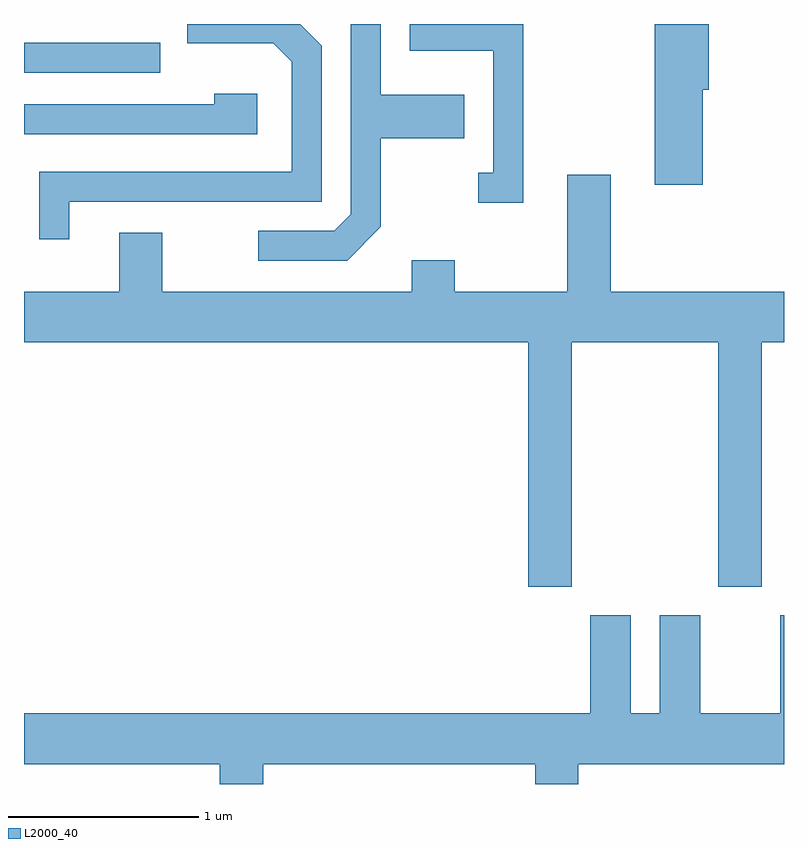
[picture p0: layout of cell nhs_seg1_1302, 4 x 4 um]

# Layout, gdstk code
import gdstk
lib = gdstk.Library(unit=1e-6, precision=1e-09)
def R(c, l, rs):  # rectangles x0, y0, x1, y1
    for r in rs: c.add(gdstk.rectangle(r[:2], r[2:], *l))
def P(c, l, *ps):  # polygons
    for p in ps: c.add(gdstk.Polygon(p, *l))
L2000_40 = (2000, 40)

nhs_seg1_1302 = lib.new_cell('nhs_seg1_1302')
R(nhs_seg1_1302, L2000_40, [(225.611,885.456,226.328,885.614)])
P(nhs_seg1_1302, L2000_40, [(225.849,884.776),(227.179,884.776),(227.179,885.597),(227.064,885.712),(226.471,885.712),(226.471,885.611),(226.924,885.611),(227.021,885.514),(227.021,884.934),(225.691,884.934),(225.691,884.578),(225.849,884.578)],
  [(227.489,884.644),(227.489,885.111),(227.929,885.111),(227.929,885.339),(227.489,885.339),(227.489,885.712),(227.331,885.712),(227.331,884.712),(227.244,884.624),(226.843,884.624),(226.843,884.466),(227.312,884.466)],
  [(229.184,885.366),(229.214,885.366),(229.214,885.712),(228.931,885.712),(228.931,884.866),(229.184,884.866)],
  [(228.239,885.712),(227.641,885.712),(227.641,885.571),(228.081,885.571),(228.081,884.929),(228.003,884.929),(228.003,884.771),(228.239,884.771)],
  [(226.839,885.344),(226.611,885.344),(226.611,885.289),(225.611,885.289),(225.611,885.131),(226.839,885.131)],
  [(228.471,884.304),(227.879,884.304),(227.879,884.469),(227.651,884.469),(227.651,884.304),(226.339,884.304),(226.339,884.614),(226.111,884.614),(226.111,884.304),(225.611,884.304),(225.611,884.036),(228.266,884.036),(228.266,882.751),(228.494,882.751),(228.494,884.036),(229.266,884.036),(229.266,882.751),(229.494,882.751),(229.494,884.036),(229.611,884.036),(229.611,884.304),(228.699,884.304),(228.699,884.919),(228.471,884.919)],
  [(226.869,881.816),(228.301,881.816),(228.301,881.712),(228.529,881.712),(228.529,881.816),(229.611,881.816),(229.611,882.599),(229.591,882.599),(229.591,882.084),(229.169,882.084),(229.169,882.599),(228.956,882.599),(228.956,882.084),(228.804,882.084),(228.804,882.599),(228.591,882.599),(228.591,882.084),(225.611,882.084),(225.611,881.816),(226.641,881.816),(226.641,881.712),(226.869,881.712)])

lib.write_gds('nhs_seg1_1302.gds')
